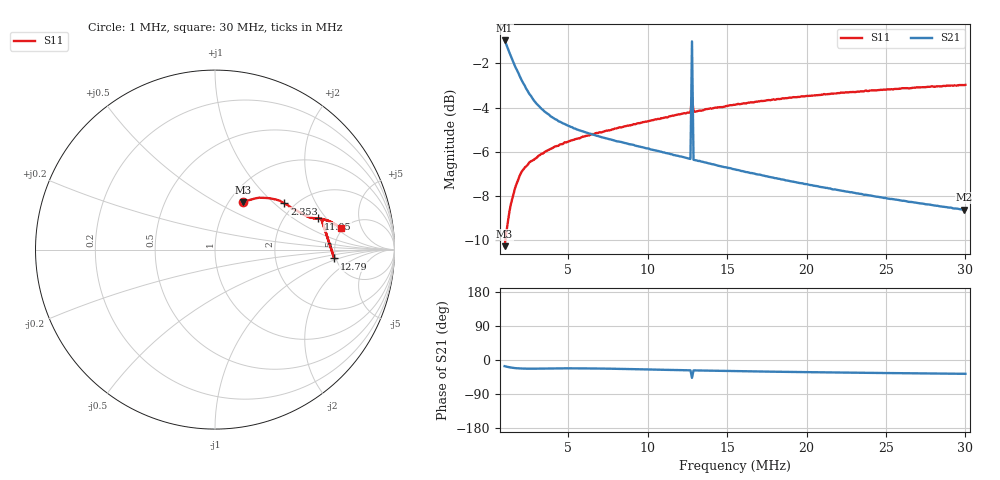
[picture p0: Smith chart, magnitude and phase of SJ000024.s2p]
!File created by NanoVNA-F V2
# Hz S RI R 50
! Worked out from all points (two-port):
!   301 points, 1 MHz to 30 MHz, reference 50 ohm
!   highest |S21| = -0.96 dB at 1 MHz (marker M1); lowest = -8.6 dB at 29.9 MHz (marker M2)
!   |S21| within 3 dB of the highest: start of sweep to 3.2 MHz; 12.74 MHz to 12.85 MHz (107.1 kHz wide, 0.837 % of centre)
!   lowest |S11| = -10.3 dB at 1 MHz (marker M3), VSWR 1.88, Z = 58.1 + j33.8 ohm
!   |S11| at or under -10 dB: start of sweep to 1.046 MHz
!   S12 and S22 are empty: the file has one direction only
!   S11 on the Smith chart (normalised r, x): 1 MHz: 1.16, +0.68; 2.353 MHz: 1.77, +1.16; 11.05 MHz: 3.02, +1.64; 12.79 MHz: 4.84, -0.85; 30 MHz: 4.76, +2.29
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1000000  0.157 0.2634  0.8595 -0.2511  0 0  0 0
1289998  0.2262 0.286  0.7961 -0.2766  0 0  0 0
1676662  0.3038 0.2861  0.7253 -0.2856  0 0  0 0
2063326  0.3592 0.2734  0.6737 -0.2788  0 0  0 0
2353324  0.387 0.2572  0.6416 -0.2722  0 0  0 0
2643322  0.4092 0.2448  0.6186 -0.2619  0 0  0 0
2836654  0.4167 0.2398  0.6037 -0.2553  0 0  0 0
3029986  0.4286 0.2302  0.5924 -0.2495  0 0  0 0
3513316  0.4488 0.2214  0.5716 -0.2359  0 0  0 0
4769974  0.4874 0.1996  0.5376 -0.2168  0 0  0 0
5833300  0.5065 0.1892  0.5178 -0.2104  0 0  0 0
7766620  0.5345 0.1762  0.4908 -0.2093  0 0  0 0
1.06666e7  0.5692 0.174  0.4542 -0.217  0 0  0 0
1.105326e7  0.5733 0.1736  0.4494 -0.2181  0 0  0 0
1.269659e7  0.5912 0.1714  0.4294 -0.2213  0 0  0 0
1.279325e7  0.6645 -0.0491  0.6059 -0.6534  0 0  0 0
1.288992e7  0.5937 0.1705  0.4269 -0.2215  0 0  0 0
1.54999e7  0.619 0.1644  0.3986 -0.2245  0 0  0 0
2.03332e7  0.6554 0.149  0.3564 -0.2247  0 0  0 0
2.51665e7  0.6813 0.1345  0.3237 -0.2223  0 0  0 0
2.990313e7  0.6993 0.1196  0.2987 -0.2202  0 0  0 0
2.99998e7  0.7003 0.1192  0.2985 -0.2205  0 0  0 0
